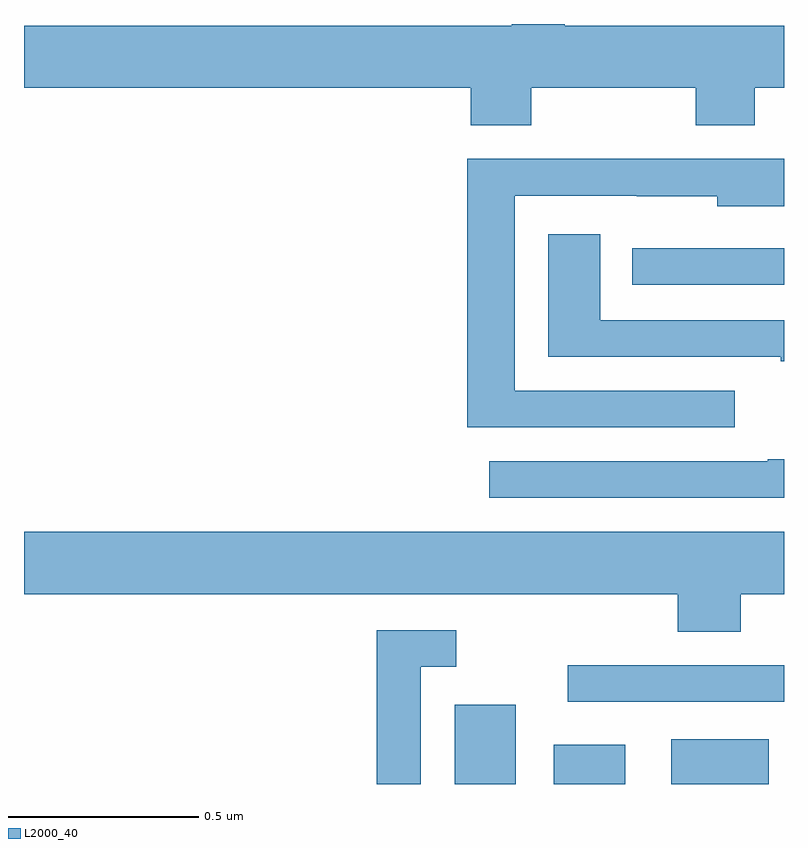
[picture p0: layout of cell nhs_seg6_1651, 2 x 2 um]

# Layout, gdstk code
import gdstk
lib = gdstk.Library(unit=1e-6, precision=1e-09)
def R(c, l, rs):  # rectangles x0, y0, x1, y1
    for r in rs: c.add(gdstk.rectangle(r[:2], r[2:], *l))
def P(c, l, *ps):  # polygons
    for p in ps: c.add(gdstk.Polygon(p, *l))
L2000_40 = (2000, 40)

nhs_seg6_1651 = lib.new_cell('nhs_seg6_1651')
R(nhs_seg6_1651, L2000_40, [(133.133,949.5,133.294,949.708), (133.394,949.5,133.582,949.603), (133.703,949.5,133.96,949.618), (133.431,949.716,134,949.812), (133.601,950.814,134,950.91)])
P(nhs_seg6_1651, L2000_40, [(133.335,951.332),(133.768,951.332),(133.768,951.233),(133.923,951.233),(133.923,951.332),(134,951.332),(134,951.496),(133.423,951.496),(133.423,951.5),(133.283,951.5),(133.283,951.496),(132,951.496),(132,951.332),(133.175,951.332),(133.175,951.233),(133.335,951.233)],
  [(133.87,950.535),(133.291,950.535),(133.291,951.048),(133.612,951.048),(133.612,951.047),(133.824,951.047),(133.824,951.02),(134,951.02),(134,951.146),(133.166,951.146),(133.166,950.439),(133.87,950.439)],
  [(134,950.721),(133.516,950.721),(133.516,950.947),(133.379,950.947),(133.379,950.625),(133.991,950.625),(133.991,950.612),(134,950.612)],
  [(134,950.354),(133.957,950.354),(133.957,950.349),(133.224,950.349),(133.224,950.253),(134,950.253)],
  [(133.886,950),(134,950),(134,950.164),(132,950.164),(132,950),(133.721,950),(133.721,949.901),(133.886,949.901)],
  [(133.044,949.809),(133.138,949.809),(133.138,949.905),(132.928,949.905),(132.928,949.5),(133.044,949.5)])

lib.write_gds('nhs_seg6_1651.gds')
